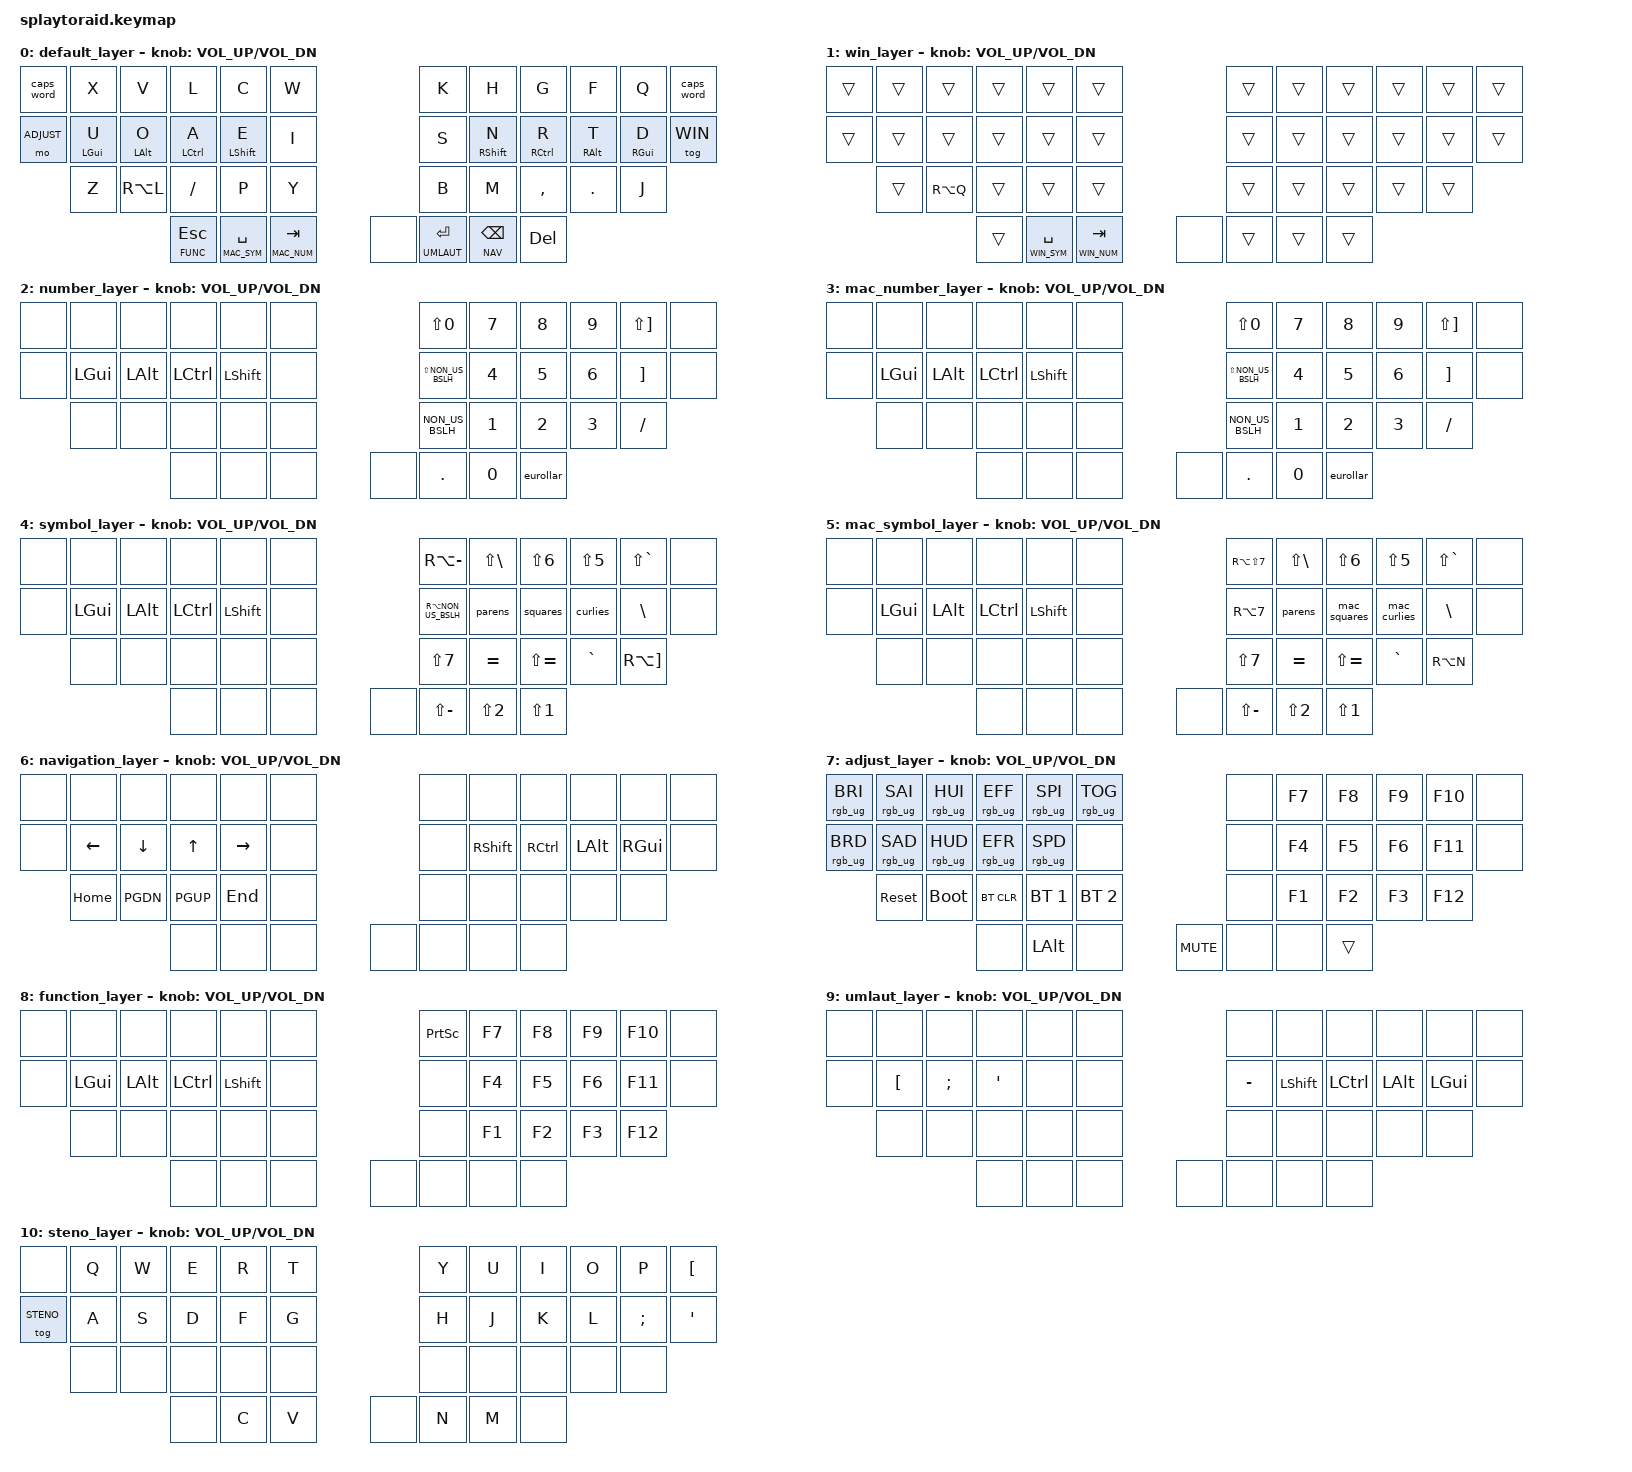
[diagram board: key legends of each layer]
/*
 * Copyright (c) 2021 The ZMK Contributors
 *
 * SPDX-License-Identifier: MIT
 */

#include <behaviors.dtsi>
#include <dt-bindings/zmk/keys.h>
#include <dt-bindings/zmk/bt.h>
#include <dt-bindings/zmk/rgb.h>
#include <dt-bindings/zmk/outputs.h>

#define DEFAULT 0
#define WIN 1
#define WIN_NUM 2
#define MAC_NUM 3
#define WIN_SYM 4
#define MAC_SYM 5
#define NAV 6
#define ADJUST 7
#define FUNC 8
#define UMLAUT 9
#define STENO 10

#define nubs NON_US_BSLH
#define sqot SINGLE_QUOTE
#define UE LBKT
#define OE SEMI
#define AE APOS
#define SS MINUS

#define mac_open_curly RA(N8)
#define mac_close_curly RA(N9)
#define mac_open_square RA(N5)
#define mac_close_square RA(N6)

&mt     {
        retro-tap;
         };

&sl     {
         release-after-ms = <150>;
         ignore-modifiers;
         };

/ {
        behaviors {
        hm: homerow_mods {
            compatible = "zmk,behavior-hold-tap";
            #binding-cells = <2>;
            tapping-term-ms = <150>;
            quick-tap-ms = <0>;
            flavor = "tap-preferred";
            bindings = <&kp>, <&kp>;
        };
        hl: homerow_layers {
            compatible = "zmk,behavior-hold-tap";
            #binding-cells = <2>;
            tapping-term-ms = <150>;
            quick-tap-ms = <150>;
            flavor = "tap-preferred";
            bindings = <&mo>, <&kp>;
        };
        /* Hold = sticky layer (&sl), tap = key. */
        hsl: homerow_sticky_layer {
            compatible = "zmk,behavior-hold-tap";
            #binding-cells = <2>;
            tapping-term-ms = <150>;
            quick-tap-ms = <150>;
            flavor = "tap-preferred";
            bindings = <&sl>, <&kp>;
        };
        eurollar: euro_dollar {
                compatible = "zmk,behavior-mod-morph";
                #binding-cells = <0>;
                bindings = <&kp RA(E)>, <&kp LS(N4)>;
                mods = <(MOD_LSFT|MOD_RSFT)>;
        };
        parens: parentheses {
                compatible = "zmk,behavior-mod-morph";
                #binding-cells = <0>;
                bindings = <&kp LS(N8)>, <&kp LS(N9)>;
                mods = <(MOD_LSFT|MOD_RSFT)>;
        };
        curlies: curly_brackets {
                compatible = "zmk,behavior-mod-morph";
                #binding-cells = <0>;
                bindings = <&kp RA(N7)>, <&kp RA(N0)>;
                mods = <(MOD_LSFT|MOD_RSFT)>;
                keep-mods = <0>;
        };
        squares: square_brackets {
                compatible = "zmk,behavior-mod-morph";
                #binding-cells = <0>;
                bindings = <&kp RA(N8)>, <&kp RA(N9)>;
                mods = <(MOD_LSFT|MOD_RSFT)>;
                keep-mods = <0>;
        };
        mac_curlies: mac_curly_brackets {
                compatible = "zmk,behavior-mod-morph";
                #binding-cells = <0>;
                bindings = <&kp mac_open_curly>, <&kp mac_close_curly>;
                mods = <(MOD_LSFT|MOD_RSFT)>;
                keep-mods = <0>;
        };
        mac_squares: mac_square_brackets {
                compatible = "zmk,behavior-mod-morph";
                #binding-cells = <0>;
                bindings = <&kp mac_open_square>, <&kp mac_close_square>;
                mods = <(MOD_LSFT|MOD_RSFT)>;
                keep-mods = <0>;
        };
    };


        keymap {
                compatible = "zmk,keymap";

                default_layer {
//          -----------------------------------------               -----------------------------------------
// ---------|   X   |   V   |   L   |   C   |   W   |     split     |   K   |   H    |   G   |   F   |   Q   |---------
// |  CAPSW |----------------------------------------               -----------------------------------------|   WIN  |
// ---------| GUI U | ALT O | STR A | SHF E |   I   |     split     |   S   | SHF N  | STR R | ALT T | GUI D |---------
// | ADJUST |----------------------------------------               -----------------------------------------| UMLAUT |
// ---------|   Y   |   @   |   -   |   P   |   Z   |     split     |   B   |   M    |   ,   |   .   |   J   |---------
//          --------------------------------------------------------------------------------------------------
//                          |FUN ESC|SYM SPC|NUM TAB|     split     |SHF RET|NAV BSPC|  DEL  |
//                          ------------------------------------------------------------------
      bindings = <
    &caps_word  &kp X       &kp V       &kp L        &kp C              &kp W                    /*split*/  &kp K               &kp H        &kp G       &kp F       &kp Q      &caps_word
    &mo ADJUST  &hm LGUI U  &hm LALT O  &hm LCTRL A  &hm LSHFT E        &kp I                    /*split*/  &kp S               &hm RSHFT N  &hm RCTRL R &hm RALT T  &hm RGUI D &tog WIN
                &kp Z       &kp RA(L)   &kp SLASH    &kp P              &kp Y                    /*split*/  &kp B               &kp M        &kp COMMA   &kp DOT     &kp J 
                                        &hl FUNC ESC &hl MAC_SYM SPACE  &hl MAC_NUM TAB          &none      &hsl UMLAUT RET     &hl NAV BSPC &kp DEL

                        >;
                sensor-bindings = <&inc_dec_kp C_VOL_UP C_VOL_DN>;
                };

                win_layer {
//          -----------------------------------------                     -----------------------------------------
// ---------|  TRNS  |  TRNS  |  TRNS  |  TRNS  |  TRNS  |     split     |  TRNS  |  TRNS  |  TRNS  |  TRNS  |  TRNS  |---------
// |  TRNS  |----------------------------------------                        -----------------------------------------|  TRNS  |
// ---------|  TRNS  |  TRNS  |  TRNS  |  TRNS  |  TRNS  |     split     |  TRNS  |  TRNS  |  TRNS  |  TRNS  |  TRNS  |---------
// |  TRNS  |----------------------------------------                        -----------------------------------------|  TRNS  |
// ---------|  TRNS  |   @    |  TRNS  |  TRNS  |  TRNS  |     split     |  TRNS  |  TRNS  |  TRNS  |  TRNS  |  TRNS  |---------
//          --------------------------------------------------------------------------------------------------
//                          | TRNS |  TRNS |  TRNS |     split     |  TRNS |  TRNS |  TRNS  |
//                          ------------------------------------------------------------------
      bindings = <
    &trans  &trans  &trans      &trans  &trans            &trans           /*split*/ &trans  &trans  &trans  &trans  &trans &trans
    &trans  &trans  &trans      &trans  &trans            &trans           /*split*/ &trans  &trans  &trans  &trans  &trans &trans
            &trans  &kp RA(Q)   &trans  &trans            &trans           /*split*/ &trans  &trans  &trans  &trans  &trans 
                                &trans  &hl WIN_SYM SPACE &hl WIN_NUM TAB    &none   &trans  &trans  &trans
                        >;
                sensor-bindings = <&inc_dec_kp C_VOL_UP C_VOL_DN>;
};


                number_layer {
//          -----------------------------------------               ----------------------------------------- 
// ---------|       |       |       |       |       |     split     |   =   |   7   |   8   |   9   |   *   |---------
// |        |----------------------------------------               ----------------------------------------|        |
// ---------|  GUI  |  ALT  |  STR  | SHFT  |       |     split     |   >   |   4   |   5   |   6   |   +   |---------
// |        |----------------------------------------               ----------------------------------------|        |
// ---------|       |       |       |       |       |     split     |   <   |   1   |   2   |   3   |   -   |---------
//          -----------------------------------------               -----------------------------------------
//                          |       |       |       |     split     |   .   |   0   |   €/$ |
//                          -------------------------               -------------------------
      bindings = <
    &none       &none    &none    &none     &none     &none   /*split*/   &kp LS(N0)            &kp N7  &kp N8       &kp N9  &kp LS(RBKT)  &none
    &none       &kp LGUI &kp LALT &kp LCTRL &kp LSHFT &none   /*split*/   &kp LS(NON_US_BSLH)   &kp N4  &kp N5       &kp N6  &kp RBKT      &none
                &none    &none    &none     &none     &none   /*split*/   &kp NON_US_BSLH       &kp N1  &kp N2       &kp N3  &kp SLASH 
                                  &none     &none     &none     &none     &kp DOT               &kp N0  &eurollar

                        >;
                sensor-bindings = <&inc_dec_kp C_VOL_UP C_VOL_DN>;
                };

                mac_number_layer {
//          -----------------------------------------               ----------------------------------------- 
// ---------|       |       |       |       |       |     split     |   =   |   7   |   8   |   9   |   *   |---------
// |        |----------------------------------------               ----------------------------------------|        |
// ---------|  GUI  |  ALT  |  STR  | SHFT  |       |     split     |   >   |   4   |   5   |   6   |   +   |---------
// |        |----------------------------------------               ----------------------------------------|        |
// ---------|       |       |       |       |       |     split     |   <   |   1   |   2   |   3   |   -   |---------
//          -----------------------------------------               -----------------------------------------
//                          |       |       |       |     split     |   .   |   0   |   €/$ |
//                          -------------------------               -------------------------
      bindings = <
    &none       &none    &none    &none     &none     &none   /*split*/   &kp LS(N0)            &kp N7  &kp N8       &kp N9  &kp LS(RBKT)  &none
    &none       &kp LGUI &kp LALT &kp LCTRL &kp LSHFT &none   /*split*/   &kp LS(NON_US_BSLH)   &kp N4  &kp N5       &kp N6  &kp RBKT      &none
                &none    &none    &none     &none     &none   /*split*/   &kp NON_US_BSLH       &kp N1  &kp N2       &kp N3  &kp SLASH 
                                  &none     &none     &none     &none     &kp DOT               &kp N0  &eurollar

                        >;
                sensor-bindings = <&inc_dec_kp C_VOL_UP C_VOL_DN>;
};

                symbol_layer {
//          -----------------------------------------               ----------------------------------------- 
// ---------|       |       |       |       |       |     split     |   \   |   '   |   &   |   %   |   °   |---------
// |        |----------------------------------------               ----------------------------------------|        |
// ---------|  GUI  |  ALT  |  STR  | SHFT  |       |     split     |   |   |   ()  |   []  |   {}  |   #   |---------
// |        |----------------------------------------               ----------------------------------------|        |
// ---------|       |       |       |       |       |     split     |   /   |   ´   |   `   |   ^°  |   ~   |---------
//          -----------------------------------------               -----------------------------------------
//                          |       |       |       |     split     |   ?   |   "   |   !   |
//                          -------------------------               ------------------------- 
      bindings = <
    &none &none    &none    &none     &none     &none   /*split*/   &kp RA(MINUS)       &kp LS(BSLH) &kp LS(N6)    &kp LS(N5)  &kp LS(GRAVE)  &none
    &none &kp LGUI &kp LALT &kp LCTRL &kp LSHFT &none   /*split*/   &kp RA(NON_US_BSLH) &parens      &squares      &curlies    &kp BSLH       &none
          &none    &none    &none     &none     &none   /*split*/   &kp LS(N7)          &kp EQUAL    &kp LS(EQUAL) &kp GRAVE   &kp RA(RBKT) 
                            &none     &none     &none     &none     &kp LS(MINUS)       &kp LS(N2)   &kp LS(N1) 

                        >;
                sensor-bindings = <&inc_dec_kp C_VOL_UP C_VOL_DN>;
                };

                mac_symbol_layer {
//          -----------------------------------------               ----------------------------------------- 
// ---------|       |       |       |       |       |     split     |   \   |   '   |   &   |   %   |   °   |---------
// |        |----------------------------------------               ----------------------------------------|        |
// ---------|  GUI  |  ALT  |  STR  | SHFT  |       |     split     |   |   |   ()  |   []  |   {}  |   #   |---------
// |        |----------------------------------------               ----------------------------------------|        |
// ---------|       |       |       |       |       |     split     |   /   |   ´   |   `   |   ^°  |   ~   |---------
//          -----------------------------------------               -----------------------------------------
//                          |       |       |       |     split     |   ?   |   "   |   !   |
//                          -------------------------               -------------------------
      bindings = <
    &none &none    &none    &none     &none     &none   /*split*/   &kp RA(LS(N7))      &kp LS(BSLH)    &kp LS(N6)      &kp LS(N5)      &kp LS(GRAVE)   &none
    &none &kp LGUI &kp LALT &kp LCTRL &kp LSHFT &none   /*split*/   &kp RA(N7)          &parens         &mac_squares    &mac_curlies    &kp BSLH        &none
          &none    &none    &none     &none     &none   /*split*/   &kp LS(N7)          &kp EQUAL       &kp LS(EQUAL)   &kp GRAVE       &kp RA(N)
                            &none     &none     &none     &none     &kp LS(MINUS)       &kp LS(N2)      &kp LS(N1) 

                        >;
                sensor-bindings = <&inc_dec_kp C_VOL_UP C_VOL_DN>;
                };

                navigation_layer {
//          -----------------------------------------               ----------------------------------------- 
// ---------|       |       |       |       |       |     split     |       |       |       |       |       |---------
// |        |----------------------------------------               ----------------------------------------|        |
// ---------|  LEFT |  DOWN |  UP   | RIGHT |       |     split     |       |  SHFT |  STR  |  ALT  |  GUI  |---------
// |        |----------------------------------------               ----------------------------------------|        |
// ---------|  HOME |  PGDN |  PGUP |  END  |       |     split     |       |       |       |       |       |---------
//          -----------------------------------------               -----------------------------------------
//                          |       |       |       |     split     |       |       |       |
//                          -------------------------               -------------------------
      bindings = <
    &none       &none    &none     &none    &none      &none   /*split*/   &none &none     &none        &none    &none     &none
    &none       &kp LEFT &kp DOWN  &kp UP   &kp RIGHT  &none   /*split*/   &none &kp RSHFT &kp RCTRL    &kp LALT &kp RGUI  &none
                &kp HOME &kp PGDN  &kp PGUP &kp END    &none   /*split*/   &none &none     &none        &none    &none 
                                   &none    &none      &none     &none     &none &none     &none 

                        >;
                sensor-bindings = <&inc_dec_kp C_VOL_UP C_VOL_DN>;
                };

adjust_layer {
//          -----------------------------------------               -----------------------------------------
// ---------|  SAT+ |  HUE+ |  ANI+ |  SPI  |  TOG  |     split     |       |   F7  |   F8  |   F9  |  F10  |---------
// |  BRI+  |----------------------------------------               ----------------------------------------|        |
// ---------|  SAT- |  HUE- |  ANI+ |  SPD  |       |     split     |       |   F4  |   F5  |   F6  |  F11  |---------
// |  BRI-  |----------------------------------------               ----------------------------------------|        |
// ---------| RESET |  BOOT | BT CLR|  BT1  |  BT2  |     split     |       |   F1  |   F2  |   F3  |  F12  |---------
//          -----------------------------------------               -----------------------------------------
//                          |       |  LALT |       |     split     |       |       |       |
//                          -------------------------               -------------------------
      bindings = <
    &rgb_ug RGB_BRI &rgb_ug RGB_SAI &rgb_ug RGB_HUI &rgb_ug RGB_EFF &rgb_ug RGB_SPI &rgb_ug RGB_TOG  /*split*/   &none  &kp F7  &kp F8  &kp F9  &kp F10  &none
    &rgb_ug RGB_BRD &rgb_ug RGB_SAD &rgb_ug RGB_HUD &rgb_ug RGB_EFR &rgb_ug RGB_SPD &none            /*split*/   &none  &kp F4  &kp F5  &kp F6  &kp F11  &none
                    &sys_reset      &bootloader     &bt BT_CLR      &bt BT_SEL 1    &bt BT_SEL 2     /*split*/   &none  &kp F1  &kp F2  &kp F3  &kp F12
                                                    &none           &kp LALT        &none            &kp C_MUTE  &none  &none   &trans
                        >;
                sensor-bindings = <&inc_dec_kp C_VOL_UP C_VOL_DN>;
                };

function_layer {
//          -----------------------------------------               -----------------------------------------
// ---------|       |       |       |       |       |     split     | PRINT |   F7  |   F8  |   F9  |  F10  |---------
// |        |----------------------------------------               ----------------------------------------|        |
// ---------|  GUI  |  ALT  |  STR  |  SHFT |       |     split     |       |   F4  |   F5  |   F6  |  F11  |---------
// |        |----------------------------------------               ----------------------------------------|        |
// ---------|       |       |       |       |       |     split     |       |   F1  |   F2  |   F3  |  F12  |---------
//          -----------------------------------------               -----------------------------------------
//                          |       |       |       |     split     |       |       |       |
//                          -------------------------               -------------------------
      bindings = <
    &none &none    &none    &none     &none     &none  /*split*/   &kp PSCRN  &kp F7  &kp F8  &kp F9  &kp F10  &none
    &none &kp LGUI &kp LALT &kp LCTRL &kp LSHFT &none  /*split*/   &none      &kp F4  &kp F5  &kp F6  &kp F11  &none
          &none    &none    &none     &none     &none  /*split*/   &none      &kp F1  &kp F2  &kp F3  &kp F12
                            &none     &none     &none    &none     &none      &none   &none
                        >;
                sensor-bindings = <&inc_dec_kp C_VOL_UP C_VOL_DN>;
                };

                umlaut_layer {
//          -----------------------------------------               -----------------------------------------
// ---------|       |       |       |       |       |     split     |       |       |       |       |       |---------
// |        |----------------------------------------               ----------------------------------------|        |
// ---------|   ü   |   ö   |   ä   |       |       |     split     |   ß   |  SHFT |  CTRL |  ALT  |  GUI  |---------
// |        |----------------------------------------               ----------------------------------------|        |
// ---------|       |       |       |       |       |     split     |       |       |       |       |       |---------
//          -------------------------------------------------------------------------------------------------
//                          |       |       |       |               |       |       |       |
//                          -----------------------------------------------------------------
      bindings = <
    &none &none  &none   &none   &none &none  /*split*/ &none   &none     &none     &none    &none    &none
    &none &kp UE &kp OE  &kp AE  &none &none  /*split*/ &kp SS  &kp LSHFT &kp LCTRL &kp LALT &kp LGUI &none
          &none  &none   &none   &none &none  /*split*/ &none   &none     &none     &none    &none 
                                &none   &none  &none    &none   &none     &none     &none

                        >;
                sensor-bindings = <&inc_dec_kp C_VOL_UP C_VOL_DN>;
                };

                steno_layer {
//          -----------------------------------------               -----------------------------------------
// ---------|       |       |       |       |       |     split     |       |       |       |       |       |---------
// |        |----------------------------------------               ----------------------------------------|        |
// ---------|       |       |       |       |       |     split     |       |       |       |       |       |---------
// |        |----------------------------------------               ----------------------------------------|        |
// ---------|       |       |       |       |       |     split     |       |       |       |       |       |---------
//          -------------------------------------------------------------------------------------------------
//                          |       |       |       |               |       |       |       |
//                          -----------------------------------------------------------------
      bindings = <
    &none       &kp Q  &kp W   &kp E   &kp R   &kp T  /*split*/ &kp Y   &kp U     &kp I     &kp O    &kp P     &kp UE
    &tog STENO  &kp A  &kp S   &kp D   &kp F   &kp G  /*split*/ &kp H   &kp J     &kp K     &kp L    &kp OE    &kp AE
                &none  &none   &none   &none   &none  /*split*/ &none   &none     &none     &none    &none 
                               &none   &kp C   &kp V    &none   &kp N   &kp M     &none

                        >;
                sensor-bindings = <&inc_dec_kp C_VOL_UP C_VOL_DN>;
                };
        };
};
